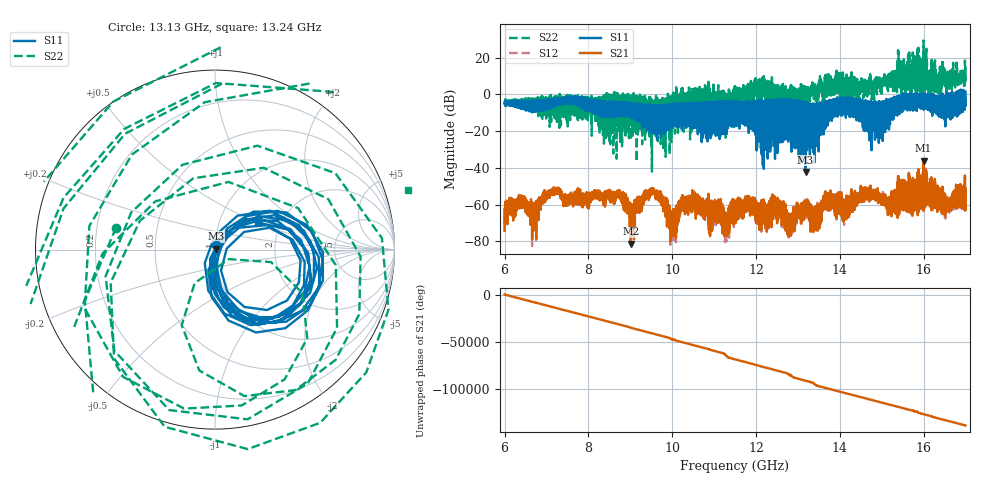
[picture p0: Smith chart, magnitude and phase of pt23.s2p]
#  HZ  S  RI  R  50.00
! Rohde & Schwarz Vector Network Analyzer
! Rohde-Schwarz,ZNA67-2Port,1332450062101215,3.01
! Created: UTC 10/27/2026, 1:16:17 PM
! freq[Hz]  re:S11  im:S11  re:S21  im:S21  re:S12  im:S12  re:S22  im:S22
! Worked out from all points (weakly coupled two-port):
!   11001 points, 6 GHz to 17 GHz, reference 50 ohm
!   highest |S21| = -36.05 dB at 16 GHz (marker M1); lowest = -81.4 dB at 9.013 GHz (marker M2)
!   lowest |S11| = -42.2 dB at 13.19 GHz (marker M3), VSWR 1.02, Z = 50.5 + j0.602 ohm
!   |S11| at or under -10 dB: 9.301823 GHz to 9.306129 GHz (4.306 MHz wide, 0.0463 % of centre); 9.347766 GHz to 9.352049 GHz (4.284 MHz wide, 0.0458 % of centre); 9.532935 GHz to 9.538035 GHz (5.1 MHz wide, 0.0535 % of centre) (the widest 3 of 658)
!   |S22| runs from -42.1 to 29.4 dB; largest |S21 - S12| = 0.0015
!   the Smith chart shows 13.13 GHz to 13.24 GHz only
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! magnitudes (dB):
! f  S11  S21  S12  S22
! 6 GHz  -5.2  -74.3  -74.7  -4.7
! 6.076 GHz  -3.7  -59.2  -59.1  -3.9
! 6.701 GHz  -4.0  -67.6  -67.6  -6.4
! 7.134 GHz  -3.2  -53.1  -52.9  -9.7
! 7.834 GHz  -5.4  -58.1  -58.1  -10.7
! 8.724 GHz  -10.3  -53.0  -53.0  -9.2
! 9.013 GHz  -10.3  -81.4  -81.7  -13.0
! 9.667 GHz  -7.1  -54.0  -53.9  -6.4
! 10.01 GHz  -7.3  -65.9  -65.5  -15.6
! 10.25 GHz  -5.7  -57.0  -56.6  3.6
! 11.3 GHz  -7.4  -69.0  -67.9  -0.5
! 11.5 GHz  -4.3  -63.5  -63.5  0.8
! 12.43 GHz  -8.3  -59.6  -59.6  2.8
! 12.8 GHz  -3.0  -65.2  -67.5  -1.7
! 13.19 GHz  -42.2  -63.0  -63.3  -20.6
! 13.33 GHz  -15.1  -63.7  -62.7  2.9
! 13.67 GHz  -5.5  -62.5  -61.9  3.3
! 14.14 GHz  -9.4  -64.7  -63.0  3.3
! 14.64 GHz  -3.9  -53.1  -53.6  4.5
! 15.17 GHz  -8.5  -60.7  -60.5  5.4
! 16 GHz  -6.8  -36.0  -35.7  29.4
! 17 GHz  1.6  -53.0  -53.5  12.7
